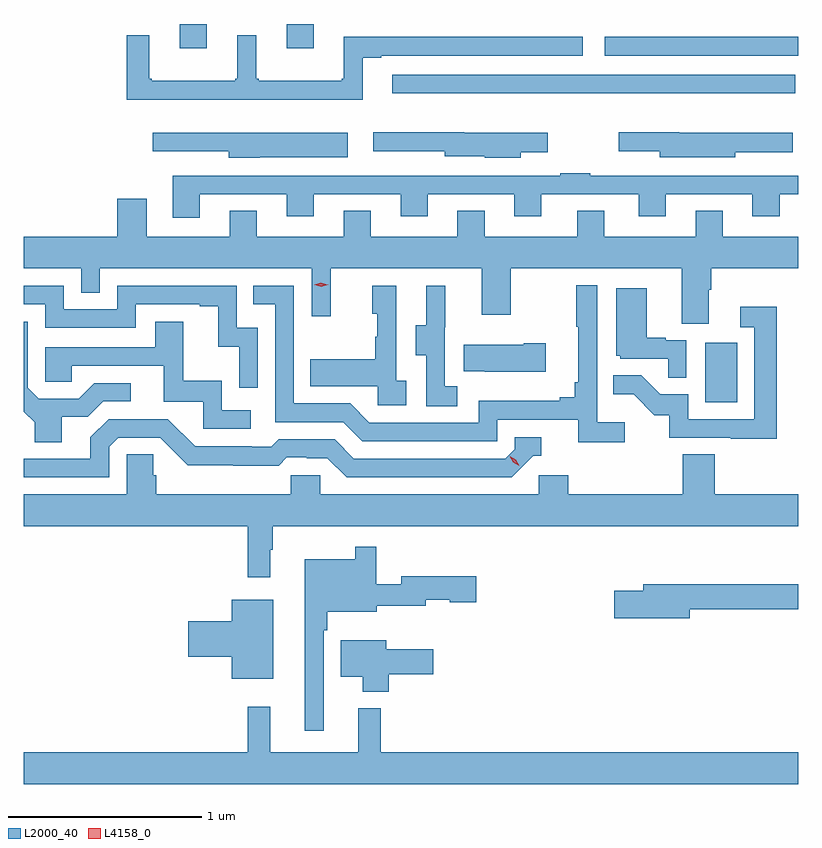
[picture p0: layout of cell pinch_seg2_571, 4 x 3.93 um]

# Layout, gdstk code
import gdstk
lib = gdstk.Library(unit=1e-6, precision=1e-09)
def R(c, l, rs):  # rectangles x0, y0, x1, y1
    for r in rs: c.add(gdstk.rectangle(r[:2], r[2:], *l))
def P(c, l, *ps):  # polygons
    for p in ps: c.add(gdstk.Polygon(p, *l))
L2000_40 = (2000, 40)
L4158_0 = (4158, 0)

pinch_seg2_571 = lib.new_cell('pinch_seg2_571')
R(pinch_seg2_571, L2000_40, [(1119.296,621.636,1119.46,621.943), (1117.677,623.231,1119.76,623.328), (1118.775,623.427,1119.775,623.524), (1116.581,623.466,1116.721,623.59), (1117.133,623.466,1117.273,623.59)])
P(pinch_seg2_571, L2000_40, [(1117.525,623.415),(1117.621,623.415),(1117.621,623.427),(1118.662,623.427),(1118.662,623.524),(1117.427,623.524),(1117.427,623.308),(1117.416,623.308),(1117.416,623.296),(1116.988,623.296),(1116.988,623.308),(1116.976,623.308),(1116.976,623.533),(1116.878,623.533),(1116.878,623.308),(1116.867,623.308),(1116.867,623.296),(1116.436,623.296),(1116.436,623.308),(1116.424,623.308),(1116.424,623.533),(1116.307,623.533),(1116.307,623.198),(1117.525,623.198)],
  [(1119.45,622.928),(1119.748,622.928),(1119.748,623.029),(1119.16,623.029),(1119.16,623.03),(1118.847,623.03),(1118.847,622.932),(1119.06,622.932),(1119.06,622.901),(1119.45,622.901)],
  [(1118.341,622.928),(1118.482,622.928),(1118.482,623.029),(1118.05,623.029),(1118.05,623.03),(1117.581,623.03),(1117.581,622.932),(1117.95,622.932),(1117.95,622.907),(1118.157,622.907),(1118.157,622.898),(1118.341,622.898)],
  [(1116.993,622.901),(1117.447,622.901),(1117.447,623.029),(1116.441,623.029),(1116.441,622.932),(1116.833,622.932),(1116.833,622.898),(1116.993,622.898)],
  [(1116.685,622.71),(1117.133,622.71),(1117.133,622.598),(1117.273,622.598),(1117.273,622.71),(1117.721,622.71),(1117.721,622.598),(1117.861,622.598),(1117.861,622.71),(1118.309,622.71),(1118.309,622.598),(1118.449,622.598),(1118.449,622.71),(1118.951,622.71),(1118.951,622.598),(1119.091,622.598),(1119.091,622.71),(1119.539,622.71),(1119.539,622.598),(1119.679,622.598),(1119.679,622.71),(1119.775,622.71),(1119.775,622.806),(1118.7,622.806),(1118.7,622.819),(1118.545,622.819),(1118.545,622.806),(1116.545,622.806),(1116.545,622.59),(1116.685,622.59)],
  [(1116.839,622.625),(1116.839,622.492),(1116.409,622.492),(1116.409,622.687),(1116.257,622.687),(1116.257,622.492),(1115.775,622.492),(1115.775,622.328),(1116.072,622.328),(1116.072,622.201),(1116.168,622.201),(1116.168,622.328),(1117.263,622.328),(1117.263,622.08),(1117.361,622.08),(1117.361,622.328),(1118.141,622.328),(1118.141,622.089),(1118.289,622.089),(1118.289,622.328),(1119.173,622.328),(1119.173,622.042),(1119.313,622.042),(1119.313,622.216),(1119.326,622.216),(1119.326,622.328),(1119.775,622.328),(1119.775,622.492),(1119.385,622.492),(1119.385,622.625),(1119.245,622.625),(1119.245,622.492),(1118.773,622.492),(1118.773,622.625),(1118.633,622.625),(1118.633,622.492),(1118.155,622.492),(1118.155,622.625),(1118.015,622.625),(1118.015,622.492),(1117.567,622.492),(1117.567,622.625),(1117.427,622.625),(1117.427,622.492),(1116.979,622.492),(1116.979,622.625)],
  [(1118.878,621.532),(1118.736,621.532),(1118.736,622.24),(1118.628,622.24),(1118.628,622.027),(1118.639,622.027),(1118.639,621.739),(1118.62,621.739),(1118.62,621.662),(1118.543,621.662),(1118.543,621.643),(1118.124,621.643),(1118.124,621.531),(1117.56,621.531),(1117.461,621.63),(1117.17,621.63),(1117.17,622.239),(1116.961,622.239),(1116.961,622.143),(1117.074,622.143),(1117.074,621.534),(1117.424,621.534),(1117.523,621.435),(1118.22,621.435),(1118.22,621.546),(1118.639,621.546),(1118.639,621.43),(1118.878,621.43)],
  [(1116.984,622.02),(1116.876,622.02),(1116.876,622.239),(1116.258,622.239),(1116.258,622.116),(1115.982,622.116),(1115.982,622.239),(1115.775,622.239),(1115.775,622.143),(1115.886,622.143),(1115.886,622.02),(1116.354,622.02),(1116.354,622.143),(1116.683,622.143),(1116.683,622.131),(1116.779,622.131),(1116.779,621.923),(1116.888,621.923),(1116.888,621.711),(1116.984,621.711)],
  [(1117.75,621.746),(1117.698,621.746),(1117.698,622.237),(1117.574,622.237),(1117.574,622.092),(1117.6,622.092),(1117.6,621.974),(1117.59,621.974),(1117.59,621.859),(1117.255,621.859),(1117.255,621.719),(1117.602,621.719),(1117.602,621.621),(1117.75,621.621)],
  [(1118.014,621.719),(1117.95,621.719),(1117.95,622.023),(1117.952,622.023),(1117.952,622.237),(1117.853,622.237),(1117.853,622.035),(1117.799,622.035),(1117.799,621.88),(1117.854,621.88),(1117.854,621.616),(1118.014,621.616)],
  [(1119.198,621.957),(1119.092,621.957),(1119.092,621.97),(1118.992,621.97),(1118.992,622.225),(1118.834,622.225),(1118.834,621.876),(1118.856,621.876),(1118.856,621.861),(1119.103,621.861),(1119.103,621.763),(1119.198,621.763)],
  [(1119.665,622.129),(1119.477,622.129),(1119.477,622.023),(1119.549,622.023),(1119.549,621.549),(1119.207,621.549),(1119.207,621.678),(1119.063,621.678),(1118.965,621.776),(1118.821,621.776),(1118.821,621.677),(1118.925,621.677),(1119.032,621.57),(1119.109,621.57),(1119.109,621.453),(1119.427,621.453),(1119.427,621.448),(1119.665,621.448)],
  [(1115.971,621.562),(1116.106,621.562),(1116.186,621.642),(1116.328,621.642),(1116.328,621.735),(1116.14,621.735),(1116.059,621.654),(1115.853,621.654),(1115.796,621.711),(1115.796,622.051),(1115.775,622.051),(1115.775,621.588),(1115.831,621.532),(1115.831,621.43),(1115.971,621.43)],
  [(1116.946,621.594),(1116.798,621.594),(1116.798,621.748),(1116.599,621.748),(1116.599,622.051),(1116.455,622.051),(1116.455,621.921),(1115.886,621.921),(1115.886,621.741),(1116.023,621.741),(1116.023,621.825),(1116.497,621.825),(1116.497,621.639),(1116.702,621.639),(1116.702,621.498),(1116.946,621.498)],
  [(1118.47,621.942),(1118.357,621.942),(1118.357,621.934),(1118.047,621.934),(1118.047,621.797),(1118.155,621.797),(1118.155,621.794),(1118.47,621.794)],
  [(1116.216,621.405),(1116.264,621.453),(1116.48,621.453),(1116.622,621.311),(1116.858,621.311),(1116.858,621.309),(1117.091,621.309),(1117.133,621.351),(1117.236,621.351),(1117.236,621.348),(1117.343,621.348),(1117.442,621.249),(1118.295,621.249),(1118.406,621.36),(1118.449,621.36),(1118.449,621.456),(1118.31,621.456),(1118.31,621.393),(1118.262,621.345),(1117.479,621.345),(1117.38,621.444),(1117.091,621.444),(1117.052,621.405),(1116.953,621.405),(1116.953,621.408),(1116.66,621.408),(1116.519,621.549),(1116.213,621.549),(1116.119,621.455),(1116.119,621.345),(1115.775,621.345),(1115.775,621.249),(1116.216,621.249)],
  [(1117.048,620.873),(1117.06,620.873),(1117.06,620.996),(1119.775,620.996),(1119.775,621.16),(1119.344,621.16),(1119.344,621.368),(1119.179,621.368),(1119.179,621.16),(1118.588,621.16),(1118.588,621.258),(1118.436,621.258),(1118.436,621.16),(1117.305,621.16),(1117.305,621.258),(1117.155,621.258),(1117.155,621.16),(1116.458,621.16),(1116.458,621.258),(1116.443,621.258),(1116.443,621.368),(1116.306,621.368),(1116.306,621.16),(1115.775,621.16),(1115.775,620.996),(1116.931,620.996),(1116.931,620.733),(1117.048,620.733)],
  [(1117.323,620.459),(1117.343,620.459),(1117.343,620.555),(1117.597,620.555),(1117.597,620.584),(1117.852,620.584),(1117.852,620.615),(1117.974,620.615),(1117.974,620.603),(1118.113,620.603),(1118.113,620.737),(1117.724,620.737),(1117.724,620.695),(1117.596,620.695),(1117.596,620.89),(1117.488,620.89),(1117.488,620.824),(1117.226,620.824),(1117.226,619.938),(1117.323,619.938)],
  [(1119.214,620.566),(1119.775,620.566),(1119.775,620.695),(1118.975,620.695),(1118.975,620.661),(1118.826,620.661),(1118.826,620.519),(1119.214,620.519)],
  [(1117.063,620.617),(1116.848,620.617),(1116.848,620.504),(1116.624,620.504),(1116.624,620.321),(1116.848,620.321),(1116.848,620.207),(1117.063,620.207)],
  [(1117.661,620.23),(1117.891,620.23),(1117.891,620.359),(1117.648,620.359),(1117.648,620.407),(1117.412,620.407),(1117.412,620.219),(1117.526,620.219),(1117.526,620.141),(1117.661,620.141)],
  [(1119.775,619.828),(1117.619,619.828),(1117.619,620.056),(1117.502,620.056),(1117.502,619.828),(1117.049,619.828),(1117.049,620.062),(1116.931,620.062),(1116.931,619.828),(1115.775,619.828),(1115.775,619.664),(1119.775,619.664)])
P(pinch_seg2_571, L4158_0, [(1118.333,621.307),(1118.302,621.326),(1118.285,621.358),(1118.285,621.358),(1118.285,621.358),(1118.316,621.339),(1118.333,621.307),(1118.333,621.307)],
  [(1117.311,622.233),(1117.275,622.242),(1117.274,622.243),(1117.275,622.243),(1117.31,622.253),(1117.346,622.244),(1117.347,622.244),(1117.346,622.244)])

lib.write_gds('pinch_seg2_571.gds')
